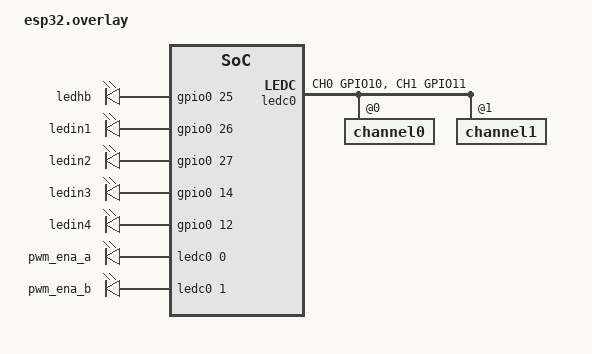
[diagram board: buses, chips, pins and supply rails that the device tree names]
/ {
    aliases {
        heartbeatled = &ledhb;
        hbridgein1 = &ledin1;
        hbridgein2 = &ledin2;
        hbridgein3 = &ledin3;
        hbridgein4 = &ledin4;
    };

    leds {
        compatible = "gpio-leds";
        ledhb: led_0 {
            gpios = <&gpio0 25 GPIO_ACTIVE_HIGH>;
        };
        ledin1: led_1 {
            gpios = <&gpio0 26 GPIO_ACTIVE_HIGH>;
        };
        ledin2: led_2 {
            gpios = <&gpio0 27 GPIO_ACTIVE_HIGH>;
        };
        ledin3: led_3 {
            gpios = <&gpio0 14 GPIO_ACTIVE_HIGH>;
        };
        ledin4: led_4 {
            gpios = <&gpio0 12 GPIO_ACTIVE_HIGH>;
        };
    };

    pwmleds {
        compatible = "pwm-leds";
        pwm_ena_a: pwm_ena_a {
            pwms = <&ledc0 0 10000 PWM_POLARITY_NORMAL>;
        };
        pwm_ena_b: pwm_ena_b {
            pwms = <&ledc0 1 10000 PWM_POLARITY_NORMAL>;
        };
    };
};

&pinctrl {
    ledc0_default: ledc0_default {
        group1 {
            pinmux = <LEDC_CH0_GPIO10>,
                     <LEDC_CH1_GPIO11>;
            output-enable;
        };
    };
};

&ledc0 {
    pinctrl-0 = <&ledc0_default>;
    pinctrl-names = "default";
    status = "okay";
    #address-cells = <1>;
    #size-cells = <0>;
    channel0@0 {
        reg = <0x0>;
        timer = <0>;
    };
    channel1@1 {
        reg = <0x1>;
        timer = <1>;
    };
};
